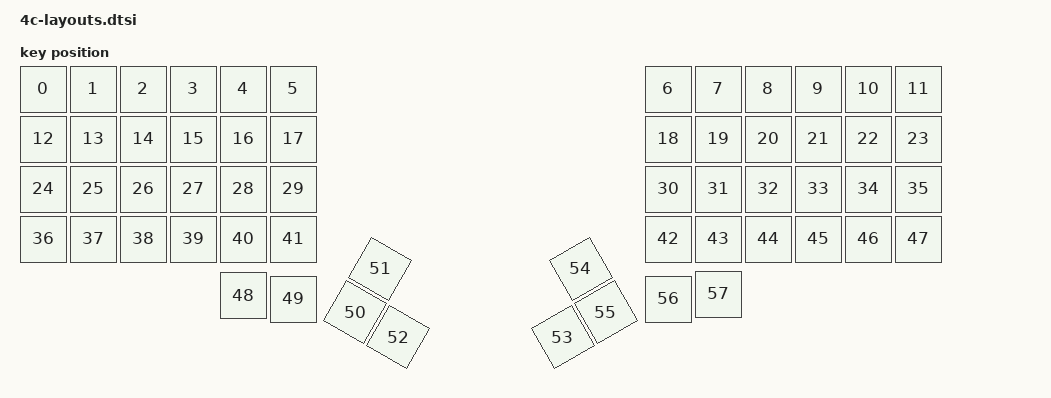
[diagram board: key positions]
#include <physical_layouts.dtsi>

/ {
    layout_4c_default: layout_4c_default {
        compatible = "zmk,physical-layout";
        display-name = "Default";
        transform = <&default_transform>;
        kscan = <&kscan0>;
        keys
            = <&key_physical_attrs 100 100   50    0      0    0    0>
            , <&key_physical_attrs 100 100  150    0      0    0    0>
            , <&key_physical_attrs 100 100  250    0      0    0    0>
            , <&key_physical_attrs 100 100  350    0      0    0    0>
            , <&key_physical_attrs 100 100  450    0      0    0    0>
            , <&key_physical_attrs 100 100  550    0      0    0    0>
            , <&key_physical_attrs 100 100 1300    0      0    0    0>
            , <&key_physical_attrs 100 100 1400    0      0    0    0>
            , <&key_physical_attrs 100 100 1500    0      0    0    0>
            , <&key_physical_attrs 100 100 1600    0      0    0    0>
            , <&key_physical_attrs 100 100 1700    0      0    0    0>
            , <&key_physical_attrs 100 100 1800    0      0    0    0>
            , <&key_physical_attrs 100 100   50  100      0    0    0>
            , <&key_physical_attrs 100 100  150  100      0    0    0>
            , <&key_physical_attrs 100 100  250  100      0    0    0>
            , <&key_physical_attrs 100 100  350  100      0    0    0>
            , <&key_physical_attrs 100 100  450  100      0    0    0>
            , <&key_physical_attrs 100 100  550  100      0    0    0>
            , <&key_physical_attrs 100 100 1300  100      0    0    0>
            , <&key_physical_attrs 100 100 1400  100      0    0    0>
            , <&key_physical_attrs 100 100 1500  100      0    0    0>
            , <&key_physical_attrs 100 100 1600  100      0    0    0>
            , <&key_physical_attrs 100 100 1700  100      0    0    0>
            , <&key_physical_attrs 100 100 1800  100      0    0    0>
            , <&key_physical_attrs 100 100   50  200      0    0    0>
            , <&key_physical_attrs 100 100  150  200      0    0    0>
            , <&key_physical_attrs 100 100  250  200      0    0    0>
            , <&key_physical_attrs 100 100  350  200      0    0    0>
            , <&key_physical_attrs 100 100  450  200      0    0    0>
            , <&key_physical_attrs 100 100  550  200      0    0    0>
            , <&key_physical_attrs 100 100 1300  200      0    0    0>
            , <&key_physical_attrs 100 100 1400  200      0    0    0>
            , <&key_physical_attrs 100 100 1500  200      0    0    0>
            , <&key_physical_attrs 100 100 1600  200      0    0    0>
            , <&key_physical_attrs 100 100 1700  200      0    0    0>
            , <&key_physical_attrs 100 100 1800  200      0    0    0>
            , <&key_physical_attrs 100 100   50  300      0    0    0>
            , <&key_physical_attrs 100 100  150  300      0    0    0>
            , <&key_physical_attrs 100 100  250  300      0    0    0>
            , <&key_physical_attrs 100 100  350  300      0    0    0>
            , <&key_physical_attrs 100 100  450  300      0    0    0>
            , <&key_physical_attrs 100 100  550  300      0    0    0>
            , <&key_physical_attrs 100 100 1300  300      0    0    0>
            , <&key_physical_attrs 100 100 1400  300      0    0    0>
            , <&key_physical_attrs 100 100 1500  300      0    0    0>
            , <&key_physical_attrs 100 100 1600  300      0    0    0>
            , <&key_physical_attrs 100 100 1700  300      0    0    0>
            , <&key_physical_attrs 100 100 1800  300      0    0    0>
            , <&key_physical_attrs 100 100  450  413      0    0    0>
            , <&key_physical_attrs 100 100  550  420      0    0    0>
            , <&key_physical_attrs 100 100  700  400   3000  650  425>
            , <&key_physical_attrs 100 100  700  300   3000  650  425>
            , <&key_physical_attrs 100 100  800  400   3000  650  425>
            , <&key_physical_attrs 100 100 1050  400  (-3000) 1300 425>
            , <&key_physical_attrs 100 100 1150  300  (-3000) 1300 425>
            , <&key_physical_attrs 100 100 1150  400  (-3000) 1300 425>
            , <&key_physical_attrs 100 100 1300  420      0    0    0>
            , <&key_physical_attrs 100 100 1400  410      0    0    0>
            ;
    };
};
